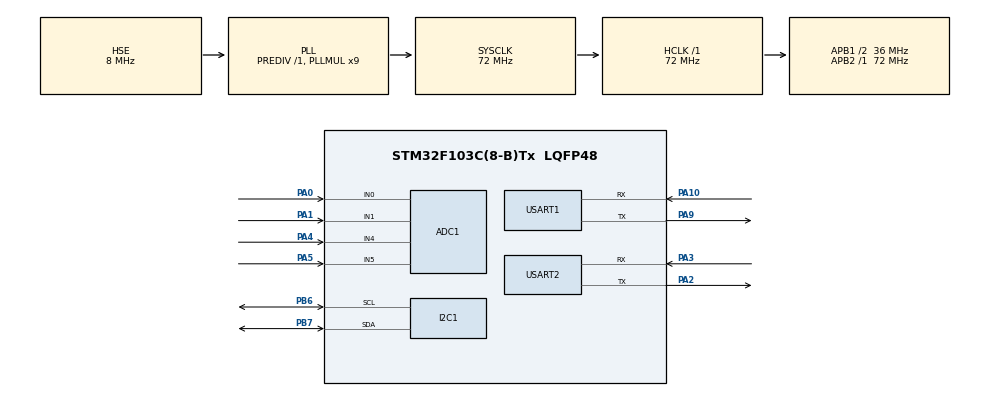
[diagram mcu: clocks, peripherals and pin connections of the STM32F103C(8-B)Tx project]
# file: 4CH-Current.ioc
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ADC1.Channel-0\#ChannelRegularConversion=ADC_CHANNEL_1
ADC1.Channel-1\#ChannelRegularConversion=ADC_CHANNEL_4
ADC1.Channel-2\#ChannelRegularConversion=ADC_CHANNEL_0
ADC1.Channel-3\#ChannelRegularConversion=ADC_CHANNEL_5
ADC1.ContinuousConvMode=ENABLE
ADC1.NbrOfConversion=4
ADC1.NbrOfConversionFlag=1
ADC1.Rank-0\#ChannelRegularConversion=1
ADC1.Rank-1\#ChannelRegularConversion=2
ADC1.Rank-2\#ChannelRegularConversion=3
ADC1.Rank-3\#ChannelRegularConversion=4
ADC1.SamplingTime-0\#ChannelRegularConversion=ADC_SAMPLETIME_1CYCLE_5
ADC1.SamplingTime-1\#ChannelRegularConversion=ADC_SAMPLETIME_1CYCLE_5
ADC1.SamplingTime-2\#ChannelRegularConversion=ADC_SAMPLETIME_1CYCLE_5
ADC1.SamplingTime-3\#ChannelRegularConversion=ADC_SAMPLETIME_1CYCLE_5
ADC1.master=1
Dma.ADC1.0.Direction=DMA_PERIPH_TO_MEMORY
Dma.ADC1.0.Instance=DMA1_Channel1
Dma.ADC1.0.MemDataAlignment=DMA_MDATAALIGN_HALFWORD
Dma.ADC1.0.MemInc=DMA_MINC_ENABLE
Dma.ADC1.0.Mode=DMA_CIRCULAR
Dma.ADC1.0.PeriphDataAlignment=DMA_PDATAALIGN_HALFWORD
Dma.ADC1.0.PeriphInc=DMA_PINC_DISABLE
Dma.ADC1.0.Priority=DMA_PRIORITY_LOW
Dma.Request0=ADC1
Mcu.Family=STM32F1
Mcu.Name=STM32F103C(8-B)Tx
Mcu.Package=LQFP48
NVIC.DMA1_Channel1_IRQn=true\:0\:0\:false\:false\:true\:false\:true\:true
NVIC.PriorityGroup=NVIC_PRIORITYGROUP_4
PA0-WKUP.Signal=ADCx_IN0
PA1.Signal=ADCx_IN1
PA10.Mode=Asynchronous
PA10.Signal=USART1_RX
PA13.Mode=Serial_Wire
PA13.Signal=SYS_JTMS-SWDIO
PA14.Mode=Serial_Wire
PA14.Signal=SYS_JTCK-SWCLK
PA2.Mode=Asynchronous
PA2.Signal=USART2_TX
PA3.Mode=Asynchronous
PA3.Signal=USART2_RX
PA4.Signal=ADCx_IN4
PA5.Signal=ADCx_IN5
PA9.Mode=Asynchronous
PA9.Signal=USART1_TX
PB6.Mode=I2C
PB6.Signal=I2C1_SCL
PB7.Mode=I2C
PB7.Signal=I2C1_SDA
PC14-OSC32_IN.Mode=LSE-External-Oscillator
PC14-OSC32_IN.Signal=RCC_OSC32_IN
PC15-OSC32_OUT.Mode=LSE-External-Oscillator
PC15-OSC32_OUT.Signal=RCC_OSC32_OUT
PD0-OSC_IN.Mode=HSE-External-Oscillator
PD0-OSC_IN.Signal=RCC_OSC_IN
PD1-OSC_OUT.Mode=HSE-External-Oscillator
PD1-OSC_OUT.Signal=RCC_OSC_OUT
ProjectManager.HeapSize=0x200
ProjectManager.StackSize=0x400
ProjectManager.TargetToolchain=MDK-ARM V5.32
RCC.ADCPresc=RCC_ADCPCLK2_DIV6
RCC.AHBFreq_Value=72000000
RCC.APB1CLKDivider=RCC_HCLK_DIV2
RCC.APB1Freq_Value=36000000
RCC.APB1TimFreq_Value=72000000
RCC.APB2Freq_Value=72000000
RCC.APB2TimFreq_Value=72000000
RCC.HCLKFreq_Value=72000000
RCC.PLLMUL=RCC_PLL_MUL9
RCC.PLLSourceVirtual=RCC_PLLSOURCE_HSE
RCC.SYSCLKFreq_VALUE=72000000
RCC.SYSCLKSource=RCC_SYSCLKSOURCE_PLLCLK
RCC.USBFreq_Value=72000000
SH.ADCx_IN0.0=ADC1_IN0,IN0
SH.ADCx_IN1.0=ADC1_IN1,IN1
SH.ADCx_IN4.0=ADC1_IN4,IN4
SH.ADCx_IN5.0=ADC1_IN5,IN5
USART1.VirtualMode=VM_ASYNC
USART2.VirtualMode=VM_ASYNC
board=custom

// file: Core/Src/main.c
/* USER CODE BEGIN Header */
/**
  ******************************************************************************
  * @file           : main.c
  * @brief          : Main program body
  ******************************************************************************
  * @attention
  *
  * Copyright (c) 2025 STMicroelectronics.
  * All rights reserved.
  *
  * This software is licensed under terms that can be found in the LICENSE file
  * in the root directory of this software component.
  * If no LICENSE file comes with this software, it is provided AS-IS.
  *
  ******************************************************************************
  */
/* USER CODE END Header */
#include "main.h"
#include "adc.h"
#include "dma.h"
#include "i2c.h"
#include "usart.h"
#include "gpio.h"

/* USER CODE BEGIN Includes */
#include "current_types.h"
#include "current_filter.h"
#include "uart_protocol.h"
#include "oled.h"
#include <stdio.h>
#include <string.h>
/* USER CODE END Includes */

/* USER CODE BEGIN PV */

/** ADC数据就绪标志 (由DMA中断设置) */
volatile uint8_t g_adc_data_ready = 0;

/** ADC原始数据缓冲区 (DMA目标) */
volatile uint16_t g_adc_raw_buffer[CHANNEL_COUNT];

/** 滤波后的电流值 */
float g_current_values[CHANNEL_COUNT] = {0};

/** 各通道滤波器 */
filter_context_t g_filters[CHANNEL_COUNT];

/** 时间戳 */
uint32_t g_last_oled_update = 0;
uint32_t g_last_uart_send = 0;
uint32_t g_last_heartbeat = 0;

/** 串口接收字节 */
uint8_t g_uart_rx_byte = 0;

/* USER CODE END PV */

void SystemClock_Config(void);
/* USER CODE BEGIN PFP */
static void process_adc_data(void);
static void update_oled_display(void);
static void send_uart_data(void);
/* USER CODE END PFP */

int main(void)
{

  /* MCU Configuration--------------------------------------------------------*/

  /* Reset of all peripherals, Initializes the Flash interface and the Systick. */
  HAL_Init();

  /* Configure the system clock */
  SystemClock_Config();

  /* Initialize all configured peripherals */
  MX_GPIO_Init();
  MX_DMA_Init();
  MX_ADC1_Init();
  MX_I2C1_Init();
  MX_USART1_UART_Init();
  MX_USART2_UART_Init();
  /* USER CODE BEGIN 2 */

  /* 初始化滤波器 */
  for (int i = 0; i < CHANNEL_COUNT; i++) {
      filter_init(&g_filters[i]);
  }

  /* 初始化OLED */
  oled_init();
  oled_cls();
  oled_show_string(0, 0, "4CH-Current", 1);
  oled_show_string(0, 2, "System Ready", 1);
  HAL_Delay(1000);
  oled_cls();

  /* 启动ADC DMA连续采集 */
  HAL_ADC_Start_DMA(&hadc1, (uint32_t*)g_adc_raw_buffer, CHANNEL_COUNT);

  /* 启动串口接收中断 (每次接收1字节) */
  extern uint8_t g_uart_rx_byte;
  HAL_UART_Receive_IT(&huart2, &g_uart_rx_byte, 1);

  /* USER CODE END 2 */

  /* Infinite loop */
  /* USER CODE BEGIN WHILE */
  while (1)
  {
    uint32_t now = HAL_GetTick();

    /* 处理ADC数据 */
#if !PROCESS_ADC_ON_UART_SEND
    if (g_adc_data_ready) {
        g_adc_data_ready = 0;
        process_adc_data();
    }
#endif

    /* 更新OLED显示 */
#if OLED_RUNTIME_DISPLAY_ENABLE
    if (now - g_last_oled_update >= OLED_UPDATE_INTERVAL_MS) {
        g_last_oled_update = now;
        update_oled_display();
    }
#endif

    /* 发送UART数据 */
    if (now - g_last_uart_send >= UART_SEND_INTERVAL_MS) {
        g_last_uart_send = now;
        send_uart_data();
    }

    /* 心跳灯 (500ms 翻转一次) */
    if (now - g_last_heartbeat >= 500) {
        g_last_heartbeat = now;
        HAL_GPIO_TogglePin(GPIOC, GPIO_PIN_13);
    }

    /* USER CODE END WHILE */

  }
}

void SystemClock_Config(void)
{
  RCC_OscInitTypeDef RCC_OscInitStruct = {0};
  RCC_ClkInitTypeDef RCC_ClkInitStruct = {0};
  RCC_PeriphCLKInitTypeDef PeriphClkInit = {0};

  /** Initializes the RCC Oscillators according to the specified parameters
  * in the RCC_OscInitTypeDef structure.
  */
  RCC_OscInitStruct.OscillatorType = RCC_OSCILLATORTYPE_HSE;
  RCC_OscInitStruct.HSEState = RCC_HSE_ON;
  RCC_OscInitStruct.HSEPredivValue = RCC_HSE_PREDIV_DIV1;
  RCC_OscInitStruct.HSIState = RCC_HSI_ON;
  RCC_OscInitStruct.PLL.PLLState = RCC_PLL_ON;
  RCC_OscInitStruct.PLL.PLLSource = RCC_PLLSOURCE_HSE;
  RCC_OscInitStruct.PLL.PLLMUL = RCC_PLL_MUL9;
  if (HAL_RCC_OscConfig(&RCC_OscInitStruct) != HAL_OK)
  {
    Error_Handler();
  }

  /** Initializes the CPU, AHB and APB buses clocks
  */
  RCC_ClkInitStruct.ClockType = RCC_CLOCKTYPE_HCLK|RCC_CLOCKTYPE_SYSCLK
                              |RCC_CLOCKTYPE_PCLK1|RCC_CLOCKTYPE_PCLK2;
  RCC_ClkInitStruct.SYSCLKSource = RCC_SYSCLKSOURCE_PLLCLK;
  RCC_ClkInitStruct.AHBCLKDivider = RCC_SYSCLK_DIV1;
  RCC_ClkInitStruct.APB1CLKDivider = RCC_HCLK_DIV2;
  RCC_ClkInitStruct.APB2CLKDivider = RCC_HCLK_DIV1;

  if (HAL_RCC_ClockConfig(&RCC_ClkInitStruct, FLASH_LATENCY_2) != HAL_OK)
  {
    Error_Handler();
  }
  PeriphClkInit.PeriphClockSelection = RCC_PERIPHCLK_ADC;
  PeriphClkInit.AdcClockSelection = RCC_ADCPCLK2_DIV6;
  if (HAL_RCCEx_PeriphCLKConfig(&PeriphClkInit) != HAL_OK)
  {
    Error_Handler();
  }
}

/* USER CODE BEGIN 4 */

/**
 * @brief 处理ADC数据
 *
 * 将原始ADC值转换为电流值，进行滤波和校准补偿
 */
static void process_adc_data(void)
{
    /* 校准参数数组 */
    static const float cal_gain[CHANNEL_COUNT] = {
        CAL_CH0_GAIN, CAL_CH1_GAIN, CAL_CH2_GAIN, CAL_CH3_GAIN
    };
    static const float cal_offset[CHANNEL_COUNT] = {
        CAL_CH0_OFFSET, CAL_CH1_OFFSET, CAL_CH2_OFFSET, CAL_CH3_OFFSET
    };

    for (int i = 0; i < CHANNEL_COUNT; i++) {
        /* ADC值转电压 */
        float voltage = ((float)g_adc_raw_buffer[i] / ADC_MAX_VALUE) * ADC_REF_VOLTAGE;

        /* 电压转电流 (INA282公式: I = (Vout - Vref) / (Gain * Rshunt)) */
        float current = (voltage - INA_REF_VOLTAGE) / (INA_GAIN * SHUNT_RESISTOR);

        /* 应用校准补偿: 真实电流 = 测量电流 * gain + offset */
        float calibrated = current * cal_gain[i] + cal_offset[i];

        /* 添加到滤波器 */
        filter_add_sample(&g_filters[i], calibrated);

        /* 获取滤波后的值 */
        g_current_values[i] = filter_get_average(&g_filters[i]);
    }
}

/**
 * @brief 更新OLED显示
 */
static void update_oled_display(void)
{
    char buf[20];

    snprintf(buf, sizeof(buf), "M1: %.2f A  ", g_current_values[0]);
    oled_show_string(0, 0, buf, 1);

    snprintf(buf, sizeof(buf), "M2: %.2f A  ", g_current_values[1]);
    oled_show_string(0, 2, buf, 1);

    snprintf(buf, sizeof(buf), "M3: %.2f A  ", g_current_values[2]);
    oled_show_string(0, 4, buf, 1);

    snprintf(buf, sizeof(buf), "M4: %.2f A  ", g_current_values[3]);
    oled_show_string(0, 6, buf, 1);
}

/**
 * @brief 发送UART数据
 *
 * 使用自定义二进制协议发送电流数据
 */
static void send_uart_data(void)
{
#if PROCESS_ADC_ON_UART_SEND
    process_adc_data();
#endif
    protocol_send_current_data();
}

/**
 * @brief ADC DMA完成回调
 *
 * 由HAL库在DMA传输完成时调用
 */
void HAL_ADC_ConvCpltCallback(ADC_HandleTypeDef* hadc)
{
#if !PROCESS_ADC_ON_UART_SEND
    if (hadc->Instance == ADC1) {
        g_adc_data_ready = 1;
    }
#else
    (void)hadc;
#endif
}

/**
 * @brief 串口接收完成回调
 */
void HAL_UART_RxCpltCallback(UART_HandleTypeDef *huart)
{
    if (huart->Instance == USART2) {
        /* 解析接收到的字节 */
        protocol_parse_byte(g_uart_rx_byte);

        /* 重新开启接收中断 */
        HAL_UART_Receive_IT(&huart2, &g_uart_rx_byte, 1);
    }
}

/* USER CODE END 4 */

void Error_Handler(void)
{
  __disable_irq();
  while (1)
  {
  }
}
